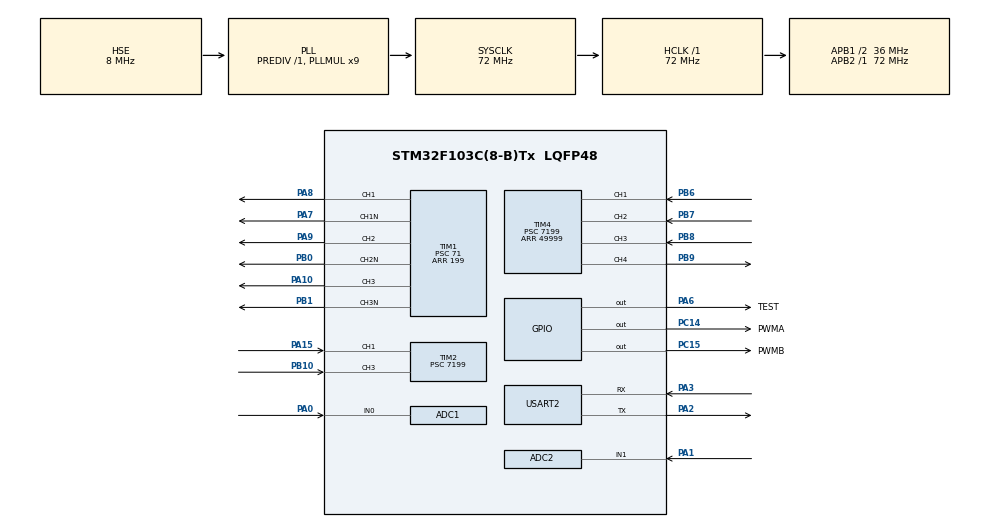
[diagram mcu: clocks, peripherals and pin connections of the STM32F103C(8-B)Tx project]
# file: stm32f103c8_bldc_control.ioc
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ADC1.Channel-1\#ChannelRegularConversion=ADC_CHANNEL_0
ADC1.ExternalTrigConv=ADC_EXTERNALTRIGCONV_T3_TRGO
ADC1.Mode=ADC_DUALMODE_REGSIMULT
ADC1.NbrOfConversionFlag=1
ADC1.Rank-1\#ChannelRegularConversion=1
ADC1.SamplingTime-1\#ChannelRegularConversion=ADC_SAMPLETIME_7CYCLES_5
ADC1.master=1
ADC2.Channel-0\#ChannelRegularConversion=ADC_CHANNEL_1
ADC2.Mode=ADC_DUALMODE_REGSIMULT
ADC2.NbrOfConversionFlag=1
ADC2.Rank-0\#ChannelRegularConversion=1
ADC2.SamplingTime-0\#ChannelRegularConversion=ADC_SAMPLETIME_7CYCLES_5
Dma.ADC1.0.Direction=DMA_PERIPH_TO_MEMORY
Dma.ADC1.0.Instance=DMA1_Channel1
Dma.ADC1.0.MemDataAlignment=DMA_MDATAALIGN_WORD
Dma.ADC1.0.MemInc=DMA_MINC_ENABLE
Dma.ADC1.0.Mode=DMA_CIRCULAR
Dma.ADC1.0.PeriphDataAlignment=DMA_PDATAALIGN_WORD
Dma.ADC1.0.PeriphInc=DMA_PINC_DISABLE
Dma.ADC1.0.Priority=DMA_PRIORITY_MEDIUM
Dma.Request0=ADC1
Mcu.Family=STM32F1
Mcu.Name=STM32F103C(8-B)Tx
Mcu.Package=LQFP48
NVIC.DMA1_Channel1_IRQn=true\:0\:0\:false\:false\:true\:true\:true
NVIC.PriorityGroup=NVIC_PRIORITYGROUP_4
NVIC.TIM1_TRG_COM_IRQn=true\:0\:0\:false\:false\:true\:true\:true
NVIC.TIM2_IRQn=true\:0\:0\:false\:false\:true\:true\:true
PA0-WKUP.Signal=ADCx_IN0
PA1.Signal=ADCx_IN1
PA10.Signal=S_TIM1_CH3
PA13.Mode=Serial_Wire
PA13.Signal=SYS_JTMS-SWDIO
PA14.Mode=Serial_Wire
PA14.Signal=SYS_JTCK-SWCLK
PA15.Signal=S_TIM2_CH1_ETR
PA2.Mode=Asynchronous
PA2.Signal=USART2_TX
PA3.Mode=Asynchronous
PA3.Signal=USART2_RX
PA6.GPIO_Label=TEST
PA6.GPIO_Speed=GPIO_SPEED_FREQ_HIGH
PA6.Signal=GPIO_Output
PA7.Mode=PWM Generation1 CH1 CH1N
PA7.Signal=TIM1_CH1N
PA8.Signal=S_TIM1_CH1
PA9.Signal=S_TIM1_CH2
PB0.Mode=PWM Generation2 CH2 CH2N
PB0.Signal=TIM1_CH2N
PB1.Mode=PWM Generation3 CH3 CH3N
PB1.Signal=TIM1_CH3N
PB10.Signal=S_TIM2_CH3
PB6.Signal=S_TIM4_CH1
PB7.Signal=S_TIM4_CH2
PB8.Signal=S_TIM4_CH3
PB9.Signal=S_TIM4_CH4
PC14-OSC32_IN.GPIO_Label=PWMA
PC14-OSC32_IN.GPIO_Speed=GPIO_SPEED_FREQ_HIGH
PC14-OSC32_IN.Signal=GPIO_Output
PC15-OSC32_OUT.GPIO_Label=PWMB
PC15-OSC32_OUT.GPIO_Speed=GPIO_SPEED_FREQ_HIGH
PC15-OSC32_OUT.Signal=GPIO_Output
PD0-OSC_IN.Mode=HSE-External-Oscillator
PD0-OSC_IN.Signal=RCC_OSC_IN
PD1-OSC_OUT.Mode=HSE-External-Oscillator
PD1-OSC_OUT.Signal=RCC_OSC_OUT
ProjectManager.HeapSize=0x200
ProjectManager.StackSize=0x400
ProjectManager.TargetToolchain=Makefile
RCC.ADCPresc=RCC_ADCPCLK2_DIV6
RCC.AHBFreq_Value=72000000
RCC.APB1CLKDivider=RCC_HCLK_DIV2
RCC.APB1Freq_Value=36000000
RCC.APB1TimFreq_Value=72000000
RCC.APB2Freq_Value=72000000
RCC.APB2TimFreq_Value=72000000
RCC.HCLKFreq_Value=72000000
RCC.PLLMUL=RCC_PLL_MUL9
RCC.PLLSourceVirtual=RCC_PLLSOURCE_HSE
RCC.SYSCLKFreq_VALUE=72000000
RCC.SYSCLKSource=RCC_SYSCLKSOURCE_PLLCLK
RCC.USBFreq_Value=72000000
SH.ADCx_IN0.0=ADC1_IN0,IN0
SH.ADCx_IN1.0=ADC2_IN1,IN1
SH.S_TIM1_CH1.0=TIM1_CH1,PWM Generation1 CH1 CH1N
SH.S_TIM1_CH2.0=TIM1_CH2,PWM Generation2 CH2 CH2N
SH.S_TIM1_CH3.0=TIM1_CH3,PWM Generation3 CH3 CH3N
SH.S_TIM2_CH1_ETR.0=TIM2_CH1,Input_Capture1_from_TI1
SH.S_TIM2_CH1_ETR.1=TIM2_CH1,Input_Capture2_from_TI1
SH.S_TIM2_CH3.0=TIM2_CH3,Input_Capture3_from_TI3
SH.S_TIM2_CH3.1=TIM2_CH3,Input_Capture4_from_TI3
SH.S_TIM4_CH1.0=TIM4_CH1,Xored_Inputs_Hall_Sensor_Interface
SH.S_TIM4_CH2.0=TIM4_CH2,Xored_Inputs_Hall_Sensor_Interface
SH.S_TIM4_CH3.0=TIM4_CH3,Xored_Inputs_Hall_Sensor_Interface
SH.S_TIM4_CH4.0=TIM4_CH4,Output Compare4 CH4
TIM1.AutoReloadPreload=TIM_AUTORELOAD_PRELOAD_ENABLE
TIM1.Channel-PWM\ Generation1\ CH1\ CH1N=TIM_CHANNEL_1
TIM1.Channel-PWM\ Generation2\ CH2\ CH2N=TIM_CHANNEL_2
TIM1.Channel-PWM\ Generation3\ CH3\ CH3N=TIM_CHANNEL_3
TIM1.CounterMode=TIM_COUNTERMODE_CENTERALIGNED2
TIM1.DeadTime=50
TIM1.Period=199
TIM1.Prescaler=71
TIM1.Pulse-PWM\ Generation1\ CH1\ CH1N=49
TIM1.Pulse-PWM\ Generation2\ CH2\ CH2N=49
TIM1.Pulse-PWM\ Generation3\ CH3\ CH3N=49
TIM1.TIM_MasterOutputTrigger=TIM_TRGO_ENABLE
TIM1.TIM_MasterSlaveMode=TIM_MASTERSLAVEMODE_ENABLE
TIM2.AutoReloadPreload=TIM_AUTORELOAD_PRELOAD_ENABLE
TIM2.Channel-Input_Capture1_from_TI1=TIM_CHANNEL_1
TIM2.Channel-Input_Capture2_from_TI1=TIM_CHANNEL_2
TIM2.Channel-Input_Capture3_from_TI3=TIM_CHANNEL_3
TIM2.Channel-Input_Capture4_from_TI3=TIM_CHANNEL_4
TIM2.CounterMode=TIM_COUNTERMODE_UP
TIM2.ICFilter_CH1=3
TIM2.ICFilter_CH3=3
TIM2.ICPolarity_CH2=TIM_INPUTCHANNELPOLARITY_FALLING
TIM2.ICPolarity_CH4=TIM_INPUTCHANNELPOLARITY_FALLING
TIM2.Period=49999
TIM2.Prescaler=7199
TIM2.TIM_MasterOutputTrigger=TIM_TRGO_UPDATE
TIM3.AutoReloadPreload=TIM_AUTORELOAD_PRELOAD_ENABLE
TIM3.Channel-Output\ Compare1\ No\ Output=TIM_CHANNEL_1
TIM3.ClockDivision=TIM_CLOCKDIVISION_DIV1
TIM3.CounterMode=TIM_COUNTERMODE_CENTERALIGNED2
TIM3.OCMode_1=TIM_OCMODE_TIMING
TIM3.Period=199
TIM3.Prescaler=143
TIM3.Pulse-Output\ Compare1\ No\ Output=2
TIM3.TIM_MasterOutputTrigger=TIM_TRGO_UPDATE
TIM4.Channel-Output\ Compare4\ CH4=TIM_CHANNEL_4
TIM4.Commutation_Delay=1
TIM4.IC1Filter=3
TIM4.OCMode_4=TIM_OCMODE_TOGGLE
TIM4.Period=49999
TIM4.Prescaler=7199
USART2.VirtualMode=VM_ASYNC
VP_TIM1_VS_ClockSourceINT.Mode=Internal
VP_TIM1_VS_ClockSourceITR.Mode=TriggerSource_ITR3
VP_TIM1_VS_ControllerModeTrigger.Mode=Trigger Mode
VP_TIM2_VS_ClockSourceINT.Mode=Internal
VP_TIM2_VS_ClockSourceITR.Mode=TriggerSource_ITR3
VP_TIM2_VS_ControllerModeTrigger.Mode=Trigger Mode
VP_TIM3_VS_ClockSourceINT.Mode=Internal
VP_TIM3_VS_ClockSourceITR.Mode=TriggerSource_ITR0
VP_TIM3_VS_ControllerModeTrigger.Mode=Trigger Mode
VP_TIM3_VS_no_output1.Mode=Output Compare1 No Output
VP_TIM4_VS_ClockSourceINT.Mode=Internal
board=custom

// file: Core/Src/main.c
/* USER CODE BEGIN Header */
/**
 ******************************************************************************
 * @file           : main.c
 * @brief          : Main program body
 ******************************************************************************
 * @attention
 *
 * <h2><center>&copy; Copyright (c) 2022 STMicroelectronics.
 * All rights reserved.</center></h2>
 *
 * This software component is licensed by ST under BSD 3-Clause license,
 * the "License"; You may not use this file except in compliance with the
 * License. You may obtain a copy of the License at:
 *                        opensource.org/licenses/BSD-3-Clause
 *
 ******************************************************************************
 */
/* USER CODE END Header */
#include "main.h"

/* USER CODE BEGIN Includes */

#include <stdint.h>

/* USER CODE END Includes */

/* USER CODE BEGIN PM */

#define DRIVER_L293D

/* USER CODE END PM */

ADC_HandleTypeDef hadc1;
ADC_HandleTypeDef hadc2;
DMA_HandleTypeDef hdma_adc1;

TIM_HandleTypeDef htim1;
TIM_HandleTypeDef htim2;
TIM_HandleTypeDef htim3;
TIM_HandleTypeDef htim4;

UART_HandleTypeDef huart2;

/* USER CODE BEGIN PV */

static int pwm_state = 0;

char trans_str[64] = {
    0,
};
volatile uint16_t adc[2] = {
    0,
};

typedef struct
{
  int direction;
  int last_edge;
} turn_t;

turn_t turn = {
    .direction = 0,
    .last_edge = 0
};

/* USER CODE END PV */

void SystemClock_Config(void);
static void MX_GPIO_Init(void);
static void MX_DMA_Init(void);
static void MX_TIM1_Init(void);
static void MX_USART2_UART_Init(void);
static void MX_ADC1_Init(void);
static void MX_TIM3_Init(void);
static void MX_ADC2_Init(void);
static void MX_TIM2_Init(void);
static void MX_TIM4_Init(void);

/* USER CODE BEGIN 0 */

void HAL_ADC_ConvCpltCallback(ADC_HandleTypeDef *hadc)
{
  if (hadc->Instance == ADC1)
  {
    HAL_GPIO_TogglePin(TEST_GPIO_Port, TEST_Pin);
    // snprintf(trans_str, 63, "ADC %d\n", (uint16_t)adc);
    // HAL_UART_Transmit(&huart2, (uint8_t *)trans_str, strlen(trans_str), 1000);
    TIM3->CCR1 = TIM3->CNT + (TIM1->ARR << 1) + 1;
  }
}

void HAL_TIM_IC_CaptureCallback(TIM_HandleTypeDef *htim) // колбек по захвату
{
  /* TIM2 callback. */
  if (htim->Instance == TIM2)
  {
    __HAL_TIM_SET_COUNTER(htim, 0x0000); // обнуление счётчика
    turn.direction = 0;

    if (htim->Channel == HAL_TIM_ACTIVE_CHANNEL_1) // RISING с LOW на HIGH
    {
      uint32_t falling = HAL_TIM_ReadCapturedValue(htim, TIM_CHANNEL_1);

      if (turn.last_edge == (int)HAL_TIM_ACTIVE_CHANNEL_4)
      {
        turn.direction = 1;
        turn.last_edge = (int)HAL_TIM_ACTIVE_CHANNEL_1;
      }

      /* TIM4 CH4 */
      /* TODO: !!!WARNING!!!  reset this counter after the corresponding event */
      __HAL_TIM_SET_COMPARE(&htim4, TIM_CHANNEL_4, falling); // длина импульса
      pwm_state = 2;
    }

    else if (htim->Channel == HAL_TIM_ACTIVE_CHANNEL_2) // FALLING с HIGH на LOW
    {
      uint32_t falling = HAL_TIM_ReadCapturedValue(htim, TIM_CHANNEL_2);

      if (turn.last_edge == (int)HAL_TIM_ACTIVE_CHANNEL_3)
      {
        turn.direction = 1;
        turn.last_edge = (int)HAL_TIM_ACTIVE_CHANNEL_2;
      }

      /* TIM4 CH4 */
      /* TODO: !!!WARNING!!!  reset this counter after the corresponding event */
      __HAL_TIM_SET_COMPARE(&htim4, TIM_CHANNEL_4, falling); // длина импульса
      pwm_state = 5;
    }

    else if (htim->Channel == HAL_TIM_ACTIVE_CHANNEL_3) // RISING с LOW на HIGH
    {
      uint32_t falling = HAL_TIM_ReadCapturedValue(htim, TIM_CHANNEL_3); // чтение значения в регистре захвата/сравнения

      if (turn.last_edge == (int)HAL_TIM_ACTIVE_CHANNEL_1)
      {
        turn.direction = 1;
        turn.last_edge = (int)HAL_TIM_ACTIVE_CHANNEL_3;
      }
    }

    else if (htim->Channel == HAL_TIM_ACTIVE_CHANNEL_4) // FALLING с HIGH на LOW
    {
      uint32_t falling = HAL_TIM_ReadCapturedValue(htim, TIM_CHANNEL_4); // чтение значения в регистре захвата/сравнения

      if (turn.last_edge == (int)HAL_TIM_ACTIVE_CHANNEL_2)
      {
        turn.direction = 1;
        turn.last_edge = (int)HAL_TIM_ACTIVE_CHANNEL_4;
      }
    }
  }
}

#ifdef DRIVER_L293D

void HAL_TIMEx_CommutCallback(TIM_HandleTypeDef *htim)
{
  switch (pwm_state)
  {
  case 0:
  {
    /* Initial Step Configuration (executed only once) ---------------------- */
    /*  Channel1 configuration */
    LL_TIM_OC_SetMode(TIM1, LL_TIM_CHANNEL_CH1, LL_TIM_OCMODE_PWM1);

    /*  Channel2 configuration */
    LL_TIM_OC_SetMode(TIM1, LL_TIM_CHANNEL_CH2, LL_TIM_OCMODE_FORCED_ACTIVE);

    /*  Channel3 configuration */
    LL_TIM_OC_SetMode(TIM1, LL_TIM_CHANNEL_CH3, LL_TIM_OCMODE_FORCED_INACTIVE);

    LL_TIM_CC_EnableChannel(TIM1, LL_TIM_CHANNEL_CH1 |
                                      LL_TIM_CHANNEL_CH2N);

    LL_TIM_CC_DisableChannel(TIM1, LL_TIM_CHANNEL_CH1N |
                                       LL_TIM_CHANNEL_CH2 |
                                       LL_TIM_CHANNEL_CH3 |
                                       LL_TIM_CHANNEL_CH3N);
    pwm_state = 1;
  }
  break;

    /**
     *        Real  Desired
     * CH1  - PWM - PWM
     * CH2  - ON  - OFF
     * CH3  - OFF - ON
     *
     * Additionally, reset the TIM4 CH4 state.
     */
  case 1:
  {
    /* Next step: Step 1 Configuration -------------------------------------- */
    /*  Channel1 configuration */
    /* Same configuration as the previous step */

    /*  Channel2 configuration */
    LL_TIM_OC_SetMode(TIM1, LL_TIM_CHANNEL_CH2, LL_TIM_OCMODE_FORCED_INACTIVE);

    /*  Channel3 configuration */
    LL_TIM_OC_SetMode(TIM1, LL_TIM_CHANNEL_CH3, LL_TIM_OCMODE_FORCED_ACTIVE);

    LL_TIM_CC_EnableChannel(TIM1, LL_TIM_CHANNEL_CH3N);
    LL_TIM_CC_DisableChannel(TIM1, LL_TIM_CHANNEL_CH2N);

    pwm_state++;
  }
  break;

    /**
     *        Real  Desired
     * CH1  - PWM - OFF
     * CH2  - OFF - PWM
     * CH3  - ON  - ON
     *
     * Additionally, reset the TIM4 CH4 state.
     */
  case 2:
  {
    /* TIM4 CH4 ACTIVE */
    LL_TIM_OC_SetMode(TIM4, LL_TIM_CHANNEL_CH4, LL_TIM_OCMODE_FORCED_ACTIVE);

    /* Next step: Step 1 Configuration -------------------------------------- */
    /*  Channel1 configuration */
    LL_TIM_OC_SetMode(TIM1, LL_TIM_CHANNEL_CH1, LL_TIM_OCMODE_FORCED_INACTIVE);

    /*  Channel2 configuration */
    LL_TIM_OC_SetMode(TIM1, LL_TIM_CHANNEL_CH2, LL_TIM_OCMODE_PWM1);

    /*  Channel3 configuration */
    /* Same configuration as the previous step */

    LL_TIM_CC_EnableChannel(TIM1, LL_TIM_CHANNEL_CH2);
    LL_TIM_CC_DisableChannel(TIM1, LL_TIM_CHANNEL_CH1);

    pwm_state++;
  }
  break;

    /**
     *        Real  Desired
     * CH1  - OFF - ON
     * CH2  - PWM - PWM
     * CH3  - ON  - OFF
     */
  case 3:
  {
    /* Next step: Step 1 Configuration -------------------------------------- */
    /*  Channel1 configuration */
    LL_TIM_OC_SetMode(TIM1, LL_TIM_CHANNEL_CH1, LL_TIM_OCMODE_FORCED_ACTIVE);

    /*  Channel2 configuration */
    /* Same configuration as the previous step */

    /*  Channel3 configuration */
    LL_TIM_OC_SetMode(TIM1, LL_TIM_CHANNEL_CH3, LL_TIM_OCMODE_FORCED_INACTIVE);

    LL_TIM_CC_EnableChannel(TIM1, LL_TIM_CHANNEL_CH1N);
    LL_TIM_CC_DisableChannel(TIM1, LL_TIM_CHANNEL_CH3N);

    pwm_state++;
  }
  break;

    /**
     *        Real  Desired
     * CH1  - ON  - ON
     * CH2  - PWM - OFF
     * CH3  - OFF - PWM
     *
     * Additionally, reset the TIM4 CH4 state.
     */
  case 4:
  {
    /* Next step: Step 1 Configuration -------------------------------------- */
    /*  Channel1 configuration */
    /* Same configuration as the previous step */

    /*  Channel2 configuration */
    LL_TIM_OC_SetMode(TIM1, LL_TIM_CHANNEL_CH2, LL_TIM_OCMODE_FORCED_INACTIVE);

    /*  Channel3 configuration */
    LL_TIM_OC_SetMode(TIM1, LL_TIM_CHANNEL_CH3, LL_TIM_OCMODE_PWM1);

    LL_TIM_CC_EnableChannel(TIM1, LL_TIM_CHANNEL_CH3);
    LL_TIM_CC_DisableChannel(TIM1, LL_TIM_CHANNEL_CH2);

    pwm_state++;
  }
  break;

    /**
     *        Real  Desired
     * CH1  - ON  - OFF
     * CH2  - OFF - ON
     * CH3  - PWM - PWM
     *
     * Additionally, reset the TIM4 CH4 state.
     */
  case 5:
  {
    /* TIM4 CH4 ACTIVE */
    LL_TIM_OC_SetMode(TIM4, LL_TIM_CHANNEL_CH4, LL_TIM_OCMODE_FORCED_INACTIVE);

    /* Next step: Step 1 Configuration -------------------------------------- */
    /*  Channel1 configuration */
    LL_TIM_OC_SetMode(TIM1, LL_TIM_CHANNEL_CH1, LL_TIM_OCMODE_FORCED_INACTIVE);

    /*  Channel2 configuration */
    LL_TIM_OC_SetMode(TIM1, LL_TIM_CHANNEL_CH2, LL_TIM_OCMODE_FORCED_ACTIVE);

    /*  Channel3 configuration */
    /* Same configuration as the previous step */

    LL_TIM_CC_EnableChannel(TIM1, LL_TIM_CHANNEL_CH2N);
    LL_TIM_CC_DisableChannel(TIM1, LL_TIM_CHANNEL_CH1N);

    pwm_state++;
  }
  break;

    /**
     * CH1  - OFF - PWM
     * CH2  - ON  - ON
     * CH3  - PWM - OFF
     */
  case 6:
  {
    /* Next step: Step 1 Configuration -------------------------------------- */
    /*  Channel1 configuration */
    LL_TIM_OC_SetMode(TIM1, LL_TIM_CHANNEL_CH1, LL_TIM_OCMODE_PWM1);

    /*  Channel2 configuration */
    /* Same configuration as the previous step */

    /*  Channel3 configuration */
    LL_TIM_OC_SetMode(TIM1, LL_TIM_CHANNEL_CH3, LL_TIM_OCMODE_FORCED_INACTIVE);

    LL_TIM_CC_EnableChannel(TIM1, LL_TIM_CHANNEL_CH1);
    LL_TIM_CC_DisableChannel(TIM1, LL_TIM_CHANNEL_CH3N);

    pwm_state = 1;
  }
  break;

  default:
    break;
  }
}

#elif

void HAL_TIMEx_CommutCallback(TIM_HandleTypeDef *htim)
{
  switch (pwm_state)
  {
  case 0:
    {
      /* Initial Step Configuration (executed only once) ---------------------- */
      /*  Channel1 configuration */
      LL_TIM_OC_SetMode(TIM1, LL_TIM_CHANNEL_CH1, LL_TIM_OCMODE_PWM1);

      /*  Channel2 configuration */
      LL_TIM_OC_SetMode(TIM1, LL_TIM_CHANNEL_CH2, LL_TIM_OCMODE_FORCED_ACTIVE);

      /*  Channel3 configuration */
      LL_TIM_OC_SetMode(TIM1, LL_TIM_CHANNEL_CH3, LL_TIM_OCMODE_FORCED_INACTIVE);

      LL_TIM_CC_EnableChannel(TIM1, LL_TIM_CHANNEL_CH1 |
                                        LL_TIM_CHANNEL_CH2N);

      LL_TIM_CC_DisableChannel(TIM1, LL_TIM_CHANNEL_CH1N |
                                         LL_TIM_CHANNEL_CH2 |
                                         LL_TIM_CHANNEL_CH3 |
                                         LL_TIM_CHANNEL_CH3N);
      pwm_state = 1;
    }
    break;

    /**
     *        Real  Desired
     * CH1  - PWM - PWM
     * CH1N - OFF - OFF
     * CH2  - OFF - OFF
     * CH2N - ON  - OFF
     * CH3  - OFF - OFF
     * CH3N - OFF - ON
     *
     * Additionally, reset the TIM4 CH4 state.
     */
  case 1:
    {
      /* Next step: Step 1 Configuration -------------------------------------- */
      /*  Channel1 configuration */
      /* Same configuration as the previous step */

      /*  Channel2 configuration */
      LL_TIM_OC_SetMode(TIM1, LL_TIM_CHANNEL_CH2, LL_TIM_OCMODE_FORCED_INACTIVE);

      /*  Channel3 configuration */
      LL_TIM_OC_SetMode(TIM1, LL_TIM_CHANNEL_CH3, LL_TIM_OCMODE_FORCED_ACTIVE);

      LL_TIM_CC_EnableChannel(TIM1, LL_TIM_CHANNEL_CH3N);
      LL_TIM_CC_DisableChannel(TIM1, LL_TIM_CHANNEL_CH2N);

      pwm_state++;
    }
    break;

    /**
     *        Real  Desired
     * CH1  - PWM - OFF
     * CH1N - OFF - OFF
     * CH2  - OFF - PWM
     * CH2N - OFF - OFF
     * CH3  - OFF - OFF
     * CH3N - ON  - ON
     *
     * Additionally, reset the TIM4 CH4 state.
     */
  case 2:
  {
      /* TIM4 CH4 ACTIVE */
      LL_TIM_OC_SetMode(TIM4, LL_TIM_CHANNEL_CH4, LL_TIM_OCMODE_FORCED_ACTIVE);

      /* Next step: Step 1 Configuration -------------------------------------- */
      /*  Channel1 configuration */
      LL_TIM_OC_SetMode(TIM1, LL_TIM_CHANNEL_CH1, LL_TIM_OCMODE_FORCED_INACTIVE);

      /*  Channel2 configuration */
      LL_TIM_OC_SetMode(TIM1, LL_TIM_CHANNEL_CH2, LL_TIM_OCMODE_PWM1);

      /*  Channel3 configuration */
      /* Same configuration as the previous step */

      LL_TIM_CC_EnableChannel(TIM1, LL_TIM_CHANNEL_CH2);
      LL_TIM_CC_DisableChannel(TIM1, LL_TIM_CHANNEL_CH1);

      pwm_state++;
  }
    break;

    /**
     *        Real  Desired
     * CH1  - OFF - OFF
     * CH1N - OFF - ON
     * CH2  - PWM - PWM
     * CH2N - OFF - OFF
     * CH3  - OFF - OFF
     * CH3N - ON  - OFF
     */
  case 3:
    {
      /* Next step: Step 1 Configuration -------------------------------------- */
      /*  Channel1 configuration */
      LL_TIM_OC_SetMode(TIM1, LL_TIM_CHANNEL_CH1, LL_TIM_OCMODE_FORCED_ACTIVE);

      /*  Channel2 configuration */
      /* Same configuration as the previous step */

      /*  Channel3 configuration */
      LL_TIM_OC_SetMode(TIM1, LL_TIM_CHANNEL_CH3, LL_TIM_OCMODE_FORCED_INACTIVE);

      LL_TIM_CC_EnableChannel(TIM1, LL_TIM_CHANNEL_CH1N);
      LL_TIM_CC_DisableChannel(TIM1, LL_TIM_CHANNEL_CH3N);

      pwm_state++;
    }
    break;

    /**
     *        Real  Desired
     * CH1  - OFF - OFF
     * CH1N - ON  - ON
     * CH2  - PWM - OFF
     * CH2N - OFF - OFF
     * CH3  - OFF - PWM
     * CH3N - OFF - OFF
     *
     * Additionally, reset the TIM4 CH4 state.
     */
  case 4:
    {
      /* Next step: Step 1 Configuration -------------------------------------- */
      /*  Channel1 configuration */
      /* Same configuration as the previous step */

      /*  Channel2 configuration */
      LL_TIM_OC_SetMode(TIM1, LL_TIM_CHANNEL_CH2, LL_TIM_OCMODE_FORCED_INACTIVE);

      /*  Channel3 configuration */
      LL_TIM_OC_SetMode(TIM1, LL_TIM_CHANNEL_CH3, LL_TIM_OCMODE_PWM1);

      LL_TIM_CC_EnableChannel(TIM1, LL_TIM_CHANNEL_CH3);
      LL_TIM_CC_DisableChannel(TIM1, LL_TIM_CHANNEL_CH2);

      pwm_state++;
    }
    break;

    /**
     *        Real  Desired
     * CH1  - OFF - OFF
     * CH1N - ON  - OFF
     * CH2  - OFF - OFF
     * CH2N - OFF - ON
     * CH3  - PWM - PWM
     * CH3N - OFF - OFF
     *
     * Additionally, reset the TIM4 CH4 state.
     */
  case 5:
  {
      /* TIM4 CH4 ACTIVE */
      LL_TIM_OC_SetMode(TIM4, LL_TIM_CHANNEL_CH4, LL_TIM_OCMODE_FORCED_INACTIVE);

      /* Next step: Step 1 Configuration -------------------------------------- */
      /*  Channel1 configuration */
      LL_TIM_OC_SetMode(TIM1, LL_TIM_CHANNEL_CH1, LL_TIM_OCMODE_FORCED_INACTIVE);

      /*  Channel2 configuration */
      LL_TIM_OC_SetMode(TIM1, LL_TIM_CHANNEL_CH2, LL_TIM_OCMODE_FORCED_ACTIVE);

      /*  Channel3 configuration */
      /* Same configuration as the previous step */

      LL_TIM_CC_EnableChannel(TIM1, LL_TIM_CHANNEL_CH2N);
      LL_TIM_CC_DisableChannel(TIM1, LL_TIM_CHANNEL_CH1N);

      pwm_state++;
  }
    break;

    /**
     *        Real  Desired
     * CH1  - OFF - PWM
     * CH1N - OFF - OFF
     * CH2  - OFF - OFF
     * CH2N - ON  - ON
     * CH3  - PWM - OFF
     * CH3N - OFF - OFF
     */
  case 6:
    {
      /* Next step: Step 1 Configuration -------------------------------------- */
      /*  Channel1 configuration */
      LL_TIM_OC_SetMode(TIM1, LL_TIM_CHANNEL_CH1, LL_TIM_OCMODE_PWM1);

      /*  Channel2 configuration */
      /* Same configuration as the previous step */

      /*  Channel3 configuration */
      LL_TIM_OC_SetMode(TIM1, LL_TIM_CHANNEL_CH3, LL_TIM_OCMODE_FORCED_INACTIVE);

      LL_TIM_CC_EnableChannel(TIM1, LL_TIM_CHANNEL_CH1);
      LL_TIM_CC_DisableChannel(TIM1, LL_TIM_CHANNEL_CH3N);

      pwm_state = 1;
    }
    break;

  default:
    break;
  }
}

#endif

/* USER CODE END 0 */

int main(void)
{

  /* MCU Configuration--------------------------------------------------------*/

  /* Reset of all peripherals, Initializes the Flash interface and the Systick. */
  HAL_Init();

  /* Configure the system clock */
  SystemClock_Config();

  /* Initialize all configured peripherals */
  MX_GPIO_Init();
  MX_DMA_Init();
  MX_TIM1_Init();
  MX_USART2_UART_Init();
  MX_ADC1_Init();
  MX_TIM3_Init();
  MX_ADC2_Init();
  MX_TIM2_Init();
  MX_TIM4_Init();
  /* USER CODE BEGIN 2 */

  // ADC initialization.
  HAL_ADCEx_Calibration_Start(&hadc1);
  HAL_ADCEx_Calibration_Start(&hadc2);

  HAL_ADC_Start(&hadc2);
  HAL_ADCEx_MultiModeStart_DMA(&hadc1, (uint32_t *)&adc, 1);

  /***** TIMs *****/
  // TIM1(PWM) initialization.
  HAL_TIMEx_PWMN_Start(&htim1, TIM_CHANNEL_1);
  HAL_TIM_PWM_Start(&htim1, TIM_CHANNEL_1);

  HAL_TIMEx_PWMN_Start(&htim1, TIM_CHANNEL_2);
  HAL_TIM_PWM_Start(&htim1, TIM_CHANNEL_2);

  HAL_TIMEx_PWMN_Start(&htim1, TIM_CHANNEL_3);
  HAL_TIM_PWM_Start(&htim1, TIM_CHANNEL_3);

  HAL_TIMEx_ConfigCommutEvent_IT(&htim1, TIM_TS_ITR3, TIM_COMMUTATION_TRGI);

  //  Chanel configuration.
  {
    /* Initial Step Configuration (executed only once) ---------------------- */
    /*  Channel1 configuration */
    LL_TIM_OC_SetMode(TIM1, LL_TIM_CHANNEL_CH1, LL_TIM_OCMODE_PWM1);

    /*  Channel2 configuration */
    LL_TIM_OC_SetMode(TIM1, LL_TIM_CHANNEL_CH2, LL_TIM_OCMODE_FORCED_ACTIVE);

    /*  Channel3 configuration */
    LL_TIM_OC_SetMode(TIM1, LL_TIM_CHANNEL_CH3, LL_TIM_OCMODE_FORCED_INACTIVE);

    LL_TIM_CC_EnableChannel(TIM1, LL_TIM_CHANNEL_CH1 |
                                      LL_TIM_CHANNEL_CH2N);

    LL_TIM_CC_DisableChannel(TIM1, LL_TIM_CHANNEL_CH1N |
                                       LL_TIM_CHANNEL_CH2 |
                                       LL_TIM_CHANNEL_CH3 |
                                       LL_TIM_CHANNEL_CH3N);
    pwm_state = 1;
  }

  // TIM2(HALL-DIRECTION) initialization.
  HAL_TIM_IC_Start_IT(&htim2, TIM_CHANNEL_1);
  HAL_TIM_IC_Start_IT(&htim2, TIM_CHANNEL_2);

  // TIM3(ADC) initialization.
  HAL_TIM_Base_Start(&htim3);

  // TIM4(HALL) initialization.
  HAL_TIMEx_HallSensor_Start(&htim4);
  HAL_TIM_OC_Start(&htim4, TIM_CHANNEL_4);

  /* USER CODE END 2 */

  /* Infinite loop */
  /* USER CODE BEGIN WHILE */
  HAL_UART_Transmit(&huart2, (uint8_t *)"Hello, world!\r\n", 15U, 100U);
  while (1)
  {
    /* USER CODE END WHILE */

    /* USER CODE BEGIN 3 */
    if (HAL_GPIO_ReadPin(TEST_GPIO_Port, TEST_Pin) == GPIO_PIN_SET)
    {
      snprintf(trans_str, 63, "ADC %d\n", (uint16_t)adc[0], (uint16_t)adc[1]);
      HAL_UART_Transmit(&huart2, (uint8_t *)trans_str, strlen(trans_str), 1000);

      adc[0] = 0;
      adc[1] = 0;
    }
  }
  /* USER CODE END 3 */
}

void SystemClock_Config(void)
{
  RCC_OscInitTypeDef RCC_OscInitStruct = {0};
  RCC_ClkInitTypeDef RCC_ClkInitStruct = {0};
  RCC_PeriphCLKInitTypeDef PeriphClkInit = {0};

  /** Initializes the RCC Oscillators according to the specified parameters
  * in the RCC_OscInitTypeDef structure.
  */
  RCC_OscInitStruct.OscillatorType = RCC_OSCILLATORTYPE_HSE;
  RCC_OscInitStruct.HSEState = RCC_HSE_ON;
  RCC_OscInitStruct.HSEPredivValue = RCC_HSE_PREDIV_DIV1;
  RCC_OscInitStruct.HSIState = RCC_HSI_ON;
  RCC_OscInitStruct.PLL.PLLState = RCC_PLL_ON;
  RCC_OscInitStruct.PLL.PLLSource = RCC_PLLSOURCE_HSE;
  RCC_OscInitStruct.PLL.PLLMUL = RCC_PLL_MUL9;
  if (HAL_RCC_OscConfig(&RCC_OscInitStruct) != HAL_OK)
  {
    Error_Handler();
  }
  /** Initializes the CPU, AHB and APB buses clocks
  */
  RCC_ClkInitStruct.ClockType = RCC_CLOCKTYPE_HCLK|RCC_CLOCKTYPE_SYSCLK
                              |RCC_CLOCKTYPE_PCLK1|RCC_CLOCKTYPE_PCLK2;
  RCC_ClkInitStruct.SYSCLKSource = RCC_SYSCLKSOURCE_PLLCLK;
  RCC_ClkInitStruct.AHBCLKDivider = RCC_SYSCLK_DIV1;
  RCC_ClkInitStruct.APB1CLKDivider = RCC_HCLK_DIV2;
  RCC_ClkInitStruct.APB2CLKDivider = RCC_HCLK_DIV1;

  if (HAL_RCC_ClockConfig(&RCC_ClkInitStruct, FLASH_LATENCY_2) != HAL_OK)
  {
    Error_Handler();
  }
  PeriphClkInit.PeriphClockSelection = RCC_PERIPHCLK_ADC;
  PeriphClkInit.AdcClockSelection = RCC_ADCPCLK2_DIV6;
  if (HAL_RCCEx_PeriphCLKConfig(&PeriphClkInit) != HAL_OK)
  {
    Error_Handler();
  }
}

static void MX_ADC1_Init(void)
{

  ADC_MultiModeTypeDef multimode = {0};
  ADC_ChannelConfTypeDef sConfig = {0};

  /** Common config
  */
  hadc1.Instance = ADC1;
  hadc1.Init.ScanConvMode = ADC_SCAN_DISABLE;
  hadc1.Init.ContinuousConvMode = DISABLE;
  hadc1.Init.DiscontinuousConvMode = DISABLE;
  hadc1.Init.ExternalTrigConv = ADC_EXTERNALTRIGCONV_T3_TRGO;
  hadc1.Init.DataAlign = ADC_DATAALIGN_RIGHT;
  hadc1.Init.NbrOfConversion = 1;
  if (HAL_ADC_Init(&hadc1) != HAL_OK)
  {
    Error_Handler();
  }
  /** Configure the ADC multi-mode
  */
  multimode.Mode = ADC_DUALMODE_REGSIMULT;
  if (HAL_ADCEx_MultiModeConfigChannel(&hadc1, &multimode) != HAL_OK)
  {
    Error_Handler();
  }
  /** Configure Regular Channel
  */
  sConfig.Channel = ADC_CHANNEL_0;
  sConfig.Rank = ADC_REGULAR_RANK_1;
  sConfig.SamplingTime = ADC_SAMPLETIME_7CYCLES_5;
  if (HAL_ADC_ConfigChannel(&hadc1, &sConfig) != HAL_OK)
  {
    Error_Handler();
  }

}

static void MX_ADC2_Init(void)
{

  ADC_ChannelConfTypeDef sConfig = {0};

  /** Common config
  */
  hadc2.Instance = ADC2;
  hadc2.Init.ScanConvMode = ADC_SCAN_DISABLE;
  hadc2.Init.ContinuousConvMode = DISABLE;
  hadc2.Init.DiscontinuousConvMode = DISABLE;
  hadc2.Init.ExternalTrigConv = ADC_SOFTWARE_START;
  hadc2.Init.DataAlign = ADC_DATAALIGN_RIGHT;
  hadc2.Init.NbrOfConversion = 1;
  if (HAL_ADC_Init(&hadc2) != HAL_OK)
  {
    Error_Handler();
  }
  /** Configure Regular Channel
  */
  sConfig.Channel = ADC_CHANNEL_1;
  sConfig.Rank = ADC_REGULAR_RANK_1;
  sConfig.SamplingTime = ADC_SAMPLETIME_7CYCLES_5;
  if (HAL_ADC_ConfigChannel(&hadc2, &sConfig) != HAL_OK)
  {
    Error_Handler();
  }

}

static void MX_TIM1_Init(void)
{

  TIM_ClockConfigTypeDef sClockSourceConfig = {0};
  TIM_SlaveConfigTypeDef sSlaveConfig = {0};
  TIM_MasterConfigTypeDef sMasterConfig = {0};
  TIM_OC_InitTypeDef sConfigOC = {0};
  TIM_BreakDeadTimeConfigTypeDef sBreakDeadTimeConfig = {0};

  htim1.Instance = TIM1;
  htim1.Init.Prescaler = 71;
  htim1.Init.CounterMode = TIM_COUNTERMODE_CENTERALIGNED2;
  htim1.Init.Period = 199;
  htim1.Init.ClockDivision = TIM_CLOCKDIVISION_DIV1;
  htim1.Init.RepetitionCounter = 0;
  htim1.Init.AutoReloadPreload = TIM_AUTORELOAD_PRELOAD_ENABLE;
  if (HAL_TIM_Base_Init(&htim1) != HAL_OK)
  {
    Error_Handler();
  }
  sClockSourceConfig.ClockSource = TIM_CLOCKSOURCE_INTERNAL;
  if (HAL_TIM_ConfigClockSource(&htim1, &sClockSourceConfig) != HAL_OK)
  {
    Error_Handler();
  }
  if (HAL_TIM_PWM_Init(&htim1) != HAL_OK)
  {
    Error_Handler();
  }
  sSlaveConfig.SlaveMode = TIM_SLAVEMODE_TRIGGER;
  sSlaveConfig.InputTrigger = TIM_TS_ITR3;
  if (HAL_TIM_SlaveConfigSynchro(&htim1, &sSlaveConfig) != HAL_OK)
  {
    Error_Handler();
  }
  sMasterConfig.MasterOutputTrigger = TIM_TRGO_ENABLE;
  sMasterConfig.MasterSlaveMode = TIM_MASTERSLAVEMODE_ENABLE;
  if (HAL_TIMEx_MasterConfigSynchronization(&htim1, &sMasterConfig) != HAL_OK)
  {
    Error_Handler();
  }
  sConfigOC.OCMode = TIM_OCMODE_PWM1;
  sConfigOC.Pulse = 49;
  sConfigOC.OCPolarity = TIM_OCPOLARITY_HIGH;
  sConfigOC.OCNPolarity = TIM_OCNPOLARITY_HIGH;
  sConfigOC.OCFastMode = TIM_OCFAST_DISABLE;
  sConfigOC.OCIdleState = TIM_OCIDLESTATE_RESET;
  sConfigOC.OCNIdleState = TIM_OCNIDLESTATE_RESET;
  if (HAL_TIM_PWM_ConfigChannel(&htim1, &sConfigOC, TIM_CHANNEL_1) != HAL_OK)
  {
    Error_Handler();
  }
  if (HAL_TIM_PWM_ConfigChannel(&htim1, &sConfigOC, TIM_CHANNEL_2) != HAL_OK)
  {
    Error_Handler();
  }
  if (HAL_TIM_PWM_ConfigChannel(&htim1, &sConfigOC, TIM_CHANNEL_3) != HAL_OK)
  {
    Error_Handler();
  }
  sBreakDeadTimeConfig.OffStateRunMode = TIM_OSSR_DISABLE;
  sBreakDeadTimeConfig.OffStateIDLEMode = TIM_OSSI_DISABLE;
  sBreakDeadTimeConfig.LockLevel = TIM_LOCKLEVEL_OFF;
  sBreakDeadTimeConfig.DeadTime = 50;
  sBreakDeadTimeConfig.BreakState = TIM_BREAK_DISABLE;
  sBreakDeadTimeConfig.BreakPolarity = TIM_BREAKPOLARITY_HIGH;
  sBreakDeadTimeConfig.AutomaticOutput = TIM_AUTOMATICOUTPUT_DISABLE;
  if (HAL_TIMEx_ConfigBreakDeadTime(&htim1, &sBreakDeadTimeConfig) != HAL_OK)
  {
    Error_Handler();
  }
  HAL_TIM_MspPostInit(&htim1);

}

static void MX_TIM2_Init(void)
{

  TIM_ClockConfigTypeDef sClockSourceConfig = {0};
  TIM_SlaveConfigTypeDef sSlaveConfig = {0};
  TIM_MasterConfigTypeDef sMasterConfig = {0};
  TIM_IC_InitTypeDef sConfigIC = {0};

  htim2.Instance = TIM2;
  htim2.Init.Prescaler = 7199;
  htim2.Init.CounterMode = TIM_COUNTERMODE_UP;
  htim2.Init.Period = 49999;
  htim2.Init.ClockDivision = TIM_CLOCKDIVISION_DIV1;
  htim2.Init.AutoReloadPreload = TIM_AUTORELOAD_PRELOAD_ENABLE;
  if (HAL_TIM_Base_Init(&htim2) != HAL_OK)
  {
    Error_Handler();
  }
  sClockSourceConfig.ClockSource = TIM_CLOCKSOURCE_INTERNAL;
  if (HAL_TIM_ConfigClockSource(&htim2, &sClockSourceConfig) != HAL_OK)
  {
    Error_Handler();
  }
  if (HAL_TIM_IC_Init(&htim2) != HAL_OK)
  {
    Error_Handler();
  }
  sSlaveConfig.SlaveMode = TIM_SLAVEMODE_TRIGGER;
  sSlaveConfig.InputTrigger = TIM_TS_ITR3;
  if (HAL_TIM_SlaveConfigSynchro(&htim2, &sSlaveConfig) != HAL_OK)
  {
    Error_Handler();
  }
  sMasterConfig.MasterOutputTrigger = TIM_TRGO_UPDATE;
  sMasterConfig.MasterSlaveMode = TIM_MASTERSLAVEMODE_DISABLE;
  if (HAL_TIMEx_MasterConfigSynchronization(&htim2, &sMasterConfig) != HAL_OK)
  {
    Error_Handler();
  }
  sConfigIC.ICPolarity = TIM_INPUTCHANNELPOLARITY_RISING;
  sConfigIC.ICSelection = TIM_ICSELECTION_DIRECTTI;
  sConfigIC.ICPrescaler = TIM_ICPSC_DIV1;
  sConfigIC.ICFilter = 3;
  if (HAL_TIM_IC_ConfigChannel(&htim2, &sConfigIC, TIM_CHANNEL_1) != HAL_OK)
  {
    Error_Handler();
  }
  sConfigIC.ICPolarity = TIM_INPUTCHANNELPOLARITY_FALLING;
  sConfigIC.ICSelection = TIM_ICSELECTION_INDIRECTTI;
  sConfigIC.ICFilter = 0;
  if (HAL_TIM_IC_ConfigChannel(&htim2, &sConfigIC, TIM_CHANNEL_2) != HAL_OK)
  {
    Error_Handler();
  }
  sConfigIC.ICPolarity = TIM_INPUTCHANNELPOLARITY_RISING;
  sConfigIC.ICSelection = TIM_ICSELECTION_DIRECTTI;
  sConfigIC.ICFilter = 3;
  if (HAL_TIM_IC_ConfigChannel(&htim2, &sConfigIC, TIM_CHANNEL_3) != HAL_OK)
  {
    Error_Handler();
  }
  sConfigIC.ICPolarity = TIM_INPUTCHANNELPOLARITY_FALLING;
  sConfigIC.ICSelection = TIM_ICSELECTION_INDIRECTTI;
  sConfigIC.ICFilter = 0;
  if (HAL_TIM_IC_ConfigChannel(&htim2, &sConfigIC, TIM_CHANNEL_4) != HAL_OK)
  {
    Error_Handler();
  }

}

static void MX_TIM3_Init(void)
{

  TIM_ClockConfigTypeDef sClockSourceConfig = {0};
  TIM_SlaveConfigTypeDef sSlaveConfig = {0};
  TIM_MasterConfigTypeDef sMasterConfig = {0};
  TIM_OC_InitTypeDef sConfigOC = {0};

  htim3.Instance = TIM3;
  htim3.Init.Prescaler = 143;
  htim3.Init.CounterMode = TIM_COUNTERMODE_CENTERALIGNED2;
  htim3.Init.Period = 199;
  htim3.Init.ClockDivision = TIM_CLOCKDIVISION_DIV1;
  htim3.Init.AutoReloadPreload = TIM_AUTORELOAD_PRELOAD_ENABLE;
  if (HAL_TIM_Base_Init(&htim3) != HAL_OK)
  {
    Error_Handler();
  }
  sClockSourceConfig.ClockSource = TIM_CLOCKSOURCE_INTERNAL;
  if (HAL_TIM_ConfigClockSource(&htim3, &sClockSourceConfig) != HAL_OK)
  {
    Error_Handler();
  }
  if (HAL_TIM_OC_Init(&htim3) != HAL_OK)
  {
    Error_Handler();
  }
  sSlaveConfig.SlaveMode = TIM_SLAVEMODE_TRIGGER;
  sSlaveConfig.InputTrigger = TIM_TS_ITR0;
  if (HAL_TIM_SlaveConfigSynchro(&htim3, &sSlaveConfig) != HAL_OK)
  {
    Error_Handler();
  }
  sMasterConfig.MasterOutputTrigger = TIM_TRGO_UPDATE;
  sMasterConfig.MasterSlaveMode = TIM_MASTERSLAVEMODE_DISABLE;
  if (HAL_TIMEx_MasterConfigSynchronization(&htim3, &sMasterConfig) != HAL_OK)
  {
    Error_Handler();
  }
  sConfigOC.OCMode = TIM_OCMODE_TIMING;
  sConfigOC.Pulse = 2;
  sConfigOC.OCPolarity = TIM_OCPOLARITY_HIGH;
  sConfigOC.OCFastMode = TIM_OCFAST_DISABLE;
  if (HAL_TIM_OC_ConfigChannel(&htim3, &sConfigOC, TIM_CHANNEL_1) != HAL_OK)
  {
    Error_Handler();
  }

}

static void MX_TIM4_Init(void)
{

  TIM_ClockConfigTypeDef sClockSourceConfig = {0};
  TIM_HallSensor_InitTypeDef sConfig = {0};
  TIM_MasterConfigTypeDef sMasterConfig = {0};
  TIM_OC_InitTypeDef sConfigOC = {0};

  htim4.Instance = TIM4;
  htim4.Init.Prescaler = 7199;
  htim4.Init.CounterMode = TIM_COUNTERMODE_UP;
  htim4.Init.Period = 49999;
  htim4.Init.ClockDivision = TIM_CLOCKDIVISION_DIV1;
  htim4.Init.AutoReloadPreload = TIM_AUTORELOAD_PRELOAD_DISABLE;
  if (HAL_TIM_Base_Init(&htim4) != HAL_OK)
  {
    Error_Handler();
  }
  sClockSourceConfig.ClockSource = TIM_CLOCKSOURCE_INTERNAL;
  if (HAL_TIM_ConfigClockSource(&htim4, &sClockSourceConfig) != HAL_OK)
  {
    Error_Handler();
  }
  if (HAL_TIM_OC_Init(&htim4) != HAL_OK)
  {
    Error_Handler();
  }
  sConfig.IC1Polarity = TIM_ICPOLARITY_RISING;
  sConfig.IC1Prescaler = TIM_ICPSC_DIV1;
  sConfig.IC1Filter = 3;
  sConfig.Commutation_Delay = 1;
  if (HAL_TIMEx_HallSensor_Init(&htim4, &sConfig) != HAL_OK)
  {
    Error_Handler();
  }
  sMasterConfig.MasterOutputTrigger = TIM_TRGO_OC2REF;
  sMasterConfig.MasterSlaveMode = TIM_MASTERSLAVEMODE_DISABLE;
  if (HAL_TIMEx_MasterConfigSynchronization(&htim4, &sMasterConfig) != HAL_OK)
  {
    Error_Handler();
  }
  sConfigOC.OCMode = TIM_OCMODE_TOGGLE;
  sConfigOC.Pulse = 29999;
  sConfigOC.OCPolarity = TIM_OCPOLARITY_HIGH;
  sConfigOC.OCFastMode = TIM_OCFAST_DISABLE;
  if (HAL_TIM_OC_ConfigChannel(&htim4, &sConfigOC, TIM_CHANNEL_4) != HAL_OK)
  {
    Error_Handler();
  }
  HAL_TIM_MspPostInit(&htim4);

}

static void MX_USART2_UART_Init(void)
{

  huart2.Instance = USART2;
  huart2.Init.BaudRate = 115200;
  huart2.Init.WordLength = UART_WORDLENGTH_8B;
  huart2.Init.StopBits = UART_STOPBITS_1;
  huart2.Init.Parity = UART_PARITY_NONE;
  huart2.Init.Mode = UART_MODE_TX_RX;
  huart2.Init.HwFlowCtl = UART_HWCONTROL_NONE;
  huart2.Init.OverSampling = UART_OVERSAMPLING_16;
  if (HAL_UART_Init(&huart2) != HAL_OK)
  {
    Error_Handler();
  }

}

static void MX_DMA_Init(void)
{

  /* DMA controller clock enable */
  __HAL_RCC_DMA1_CLK_ENABLE();

  /* DMA interrupt init */
  /* DMA1_Channel1_IRQn interrupt configuration */
  HAL_NVIC_SetPriority(DMA1_Channel1_IRQn, 0, 0);
  HAL_NVIC_EnableIRQ(DMA1_Channel1_IRQn);

}

static void MX_GPIO_Init(void)
{
  GPIO_InitTypeDef GPIO_InitStruct = {0};

  /* GPIO Ports Clock Enable */
  __HAL_RCC_GPIOC_CLK_ENABLE();
  __HAL_RCC_GPIOD_CLK_ENABLE();
  __HAL_RCC_GPIOA_CLK_ENABLE();
  __HAL_RCC_GPIOB_CLK_ENABLE();

  /*Configure GPIO pin Output Level */
  HAL_GPIO_WritePin(GPIOC, PWMA_Pin|PWMB_Pin, GPIO_PIN_RESET);

  /*Configure GPIO pin Output Level */
  HAL_GPIO_WritePin(TEST_GPIO_Port, TEST_Pin, GPIO_PIN_RESET);

  /*Configure GPIO pins : PWMA_Pin PWMB_Pin */
  GPIO_InitStruct.Pin = PWMA_Pin|PWMB_Pin;
  GPIO_InitStruct.Mode = GPIO_MODE_OUTPUT_PP;
  GPIO_InitStruct.Pull = GPIO_NOPULL;
  GPIO_InitStruct.Speed = GPIO_SPEED_FREQ_HIGH;
  HAL_GPIO_Init(GPIOC, &GPIO_InitStruct);

  /*Configure GPIO pin : TEST_Pin */
  GPIO_InitStruct.Pin = TEST_Pin;
  GPIO_InitStruct.Mode = GPIO_MODE_OUTPUT_PP;
  GPIO_InitStruct.Pull = GPIO_NOPULL;
  GPIO_InitStruct.Speed = GPIO_SPEED_FREQ_HIGH;
  HAL_GPIO_Init(TEST_GPIO_Port, &GPIO_InitStruct);

}

void Error_Handler(void)
{
  __disable_irq();
  while (1)
  {
  }
}

/************************ (C) COPYRIGHT STMicroelectronics *****END OF FILE****/
